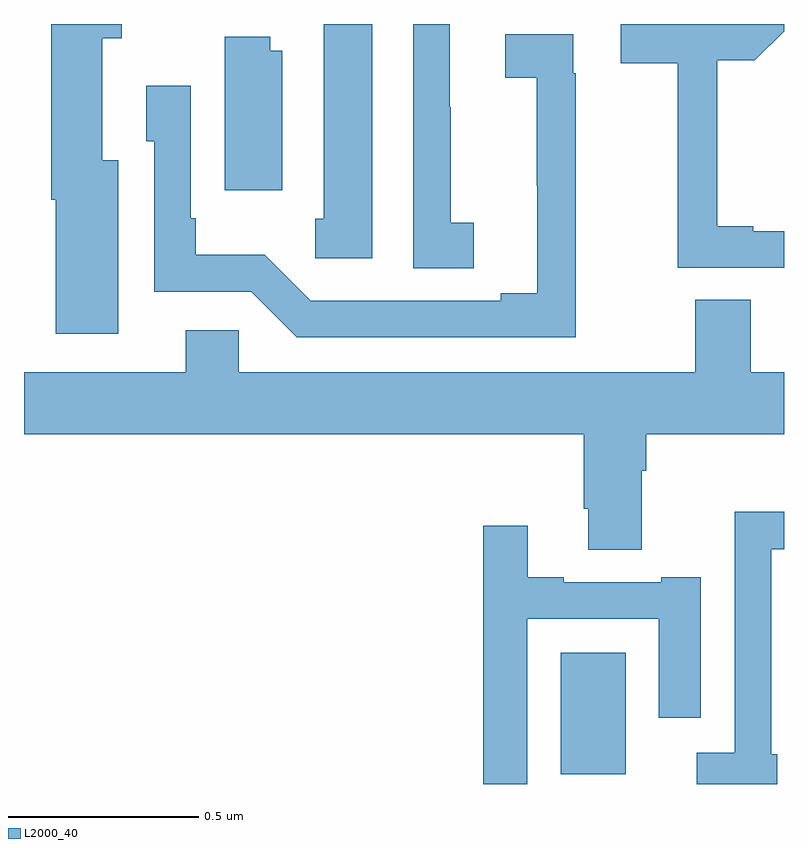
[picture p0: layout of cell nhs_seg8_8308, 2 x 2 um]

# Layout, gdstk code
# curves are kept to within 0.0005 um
import gdstk
lib = gdstk.Library(unit=1e-6, precision=1e-09)
def R(c, l, rs):  # rectangles x0, y0, x1, y1
    for r in rs: c.add(gdstk.rectangle(r[:2], r[2:], *l))
def P(c, l, *ps):  # polygons
    for p in ps: c.add(gdstk.Polygon(p, *l))
L2000_40 = (2000, 40)

nhs_seg8_8308 = lib.new_cell('nhs_seg8_8308')
R(nhs_seg8_8308, L2000_40, [(222.413,1128.926,222.583,1129.246)])
P(nhs_seg8_8308, L2000_40, [(221.917,1130.9),(221.789,1130.9),(221.789,1130.388),(221.767,1130.388),(221.767,1130.283),(221.917,1130.283)],
  [(221.248,1130.542),(221.206,1130.542),(221.206,1130.863),(221.257,1130.863),(221.257,1130.9),(221.072,1130.9),(221.072,1130.438),(221.084,1130.438),(221.084,1130.085),(221.248,1130.085)],
  [(222.184,1130.377),(222.123,1130.377),(222.123,1130.681),(222.121,1130.681),(222.121,1130.9),(222.024,1130.9),(222.024,1130.257),(222.184,1130.257)],
  [(223,1130.355),(222.919,1130.355),(222.919,1130.368),(222.824,1130.368),(222.824,1130.805),(222.923,1130.805),(223,1130.881),(223,1130.9),(222.57,1130.9),(222.57,1130.797),(222.721,1130.797),(222.721,1130.259),(223,1130.259)],
  [(222.452,1130.771),(222.446,1130.771),(222.446,1130.873),(222.267,1130.873),(222.267,1130.758),(222.349,1130.758),(222.35,1130.192),(222.254,1130.192),(222.254,1130.172),(221.754,1130.172),(221.633,1130.293),(221.452,1130.293),(221.452,1130.389),(221.439,1130.389),(221.439,1130.737),(221.322,1130.737),(221.322,1130.592),(221.343,1130.592),(221.343,1130.196),(221.598,1130.196),(221.718,1130.076),(222.452,1130.076)],
  [(221.68,1130.83),(221.648,1130.83),(221.648,1130.867),(221.528,1130.867),(221.528,1130.463),(221.68,1130.463)],
  [(222.625,1129.724),(222.638,1129.724),(222.638,1129.82),(223,1129.82),(223,1129.984),(222.913,1129.984),(222.913,1130.174),(222.766,1130.174),(222.766,1129.984),(221.565,1129.984),(221.565,1130.094),(221.426,1130.094),(221.426,1129.984),(221,1129.984),(221,1129.82),(222.473,1129.82),(222.473,1129.624),(222.485,1129.624),(222.485,1129.516),(222.625,1129.516)],
  [(222.982,1128.978),(222.966,1128.978),(222.966,1129.518),(223,1129.518),(223,1129.616),(222.87,1129.616),(222.87,1128.982),(222.77,1128.982),(222.77,1128.9),(222.982,1128.9)],
  [(222.324,1129.335),(222.671,1129.335),(222.671,1129.074),(222.781,1129.074),(222.781,1129.444),(222.677,1129.444),(222.677,1129.431),(222.421,1129.431),(222.421,1129.444),(222.325,1129.444),(222.325,1129.579),(222.208,1129.579),(222.208,1128.9),(222.324,1128.9)])

lib.write_gds('nhs_seg8_8308.gds')
